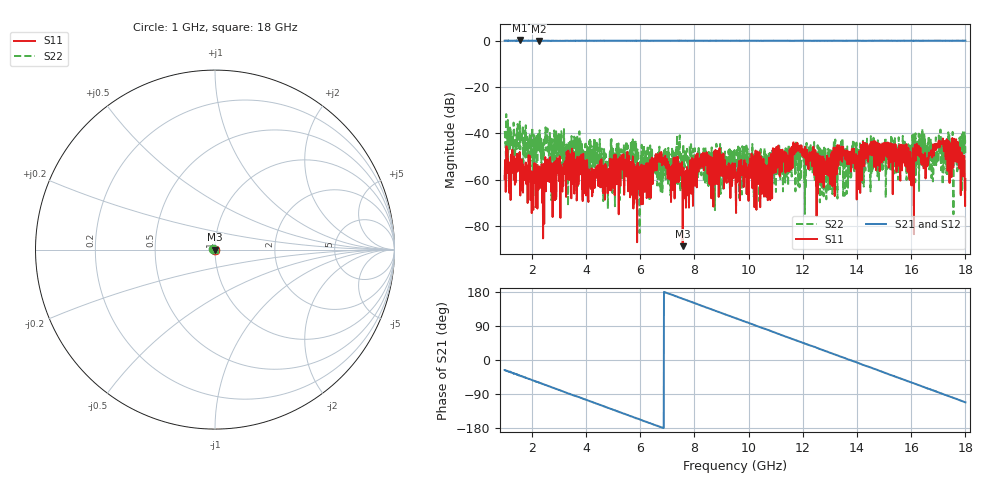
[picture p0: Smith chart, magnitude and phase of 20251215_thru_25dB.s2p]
#  HZ  S  DB  R  50.00
! Rohde & Schwarz ZVA40 4Ports - Version 4.11 - 1145.1110k42 SN: 100337
! Date: 2025-12-16 12:53:15
! Measurements: S11 S41 S14 S44
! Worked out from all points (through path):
!   1701 points, 1 GHz to 18 GHz, reference 50 ohm
!   highest |S21| = 0.15 dB at 1.56 GHz (marker M1); lowest = -0.1 dB at 2.26 GHz (marker M2)
!   group delay of S21, straight-line fit = 72.7 ps
!   lowest |S11| = -88.8 dB at 7.57 GHz (marker M3), VSWR 1.00, Z = 50 - j0.00363 ohm
!   |S11| at or under -10 dB: start of sweep to end of sweep
!   |S22| runs from -83.1 to -31.7 dB; largest |S21 - S12| = 0.029
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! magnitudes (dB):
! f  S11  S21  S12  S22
! 1 GHz  -59.7  0.1  0.0  -39.0
! 1.56 GHz  -48.1  0.1  0.0  -34.9
! 2.26 GHz  -54.2  -0.1  0.0  -46.0
! 3.84 GHz  -49.2  0.1  0.0  -48.7
! 6.18 GHz  -59.5  0.1  0.0  -51.1
! 6.67 GHz  -52.1  0.0  0.0  -47.5
! 7.57 GHz  -88.8  0.0  0.0  -54.4
! 8.39 GHz  -51.0  0.0  0.0  -51.5
! 9.5 GHz  -53.0  0.1  0.0  -53.3
! 10.65 GHz  -67.4  0.1  0.0  -51.7
! 11.73 GHz  -44.7  0.1  0.0  -65.1
! 12.34 GHz  -49.6  0.0  0.0  -46.5
! 12.57 GHz  -58.4  0.0  0.0  -50.3
! 13.55 GHz  -47.7  0.0  0.0  -47.9
! 14.05 GHz  -64.1  0.1  0.0  -49.8
! 14.29 GHz  -44.2  0.0  0.0  -47.0
! 15.17 GHz  -54.8  0.1  0.0  -46.2
! 16.02 GHz  -54.4  0.0  0.0  -61.8
! 17.1 GHz  -44.2  0.1  0.0  -56.0
! 17.41 GHz  -61.1  0.0  -0.1  -40.9
! 17.66 GHz  -42.6  0.1  -0.1  -46.6
! 18 GHz  -59.8  0.1  0.0  -49.4
